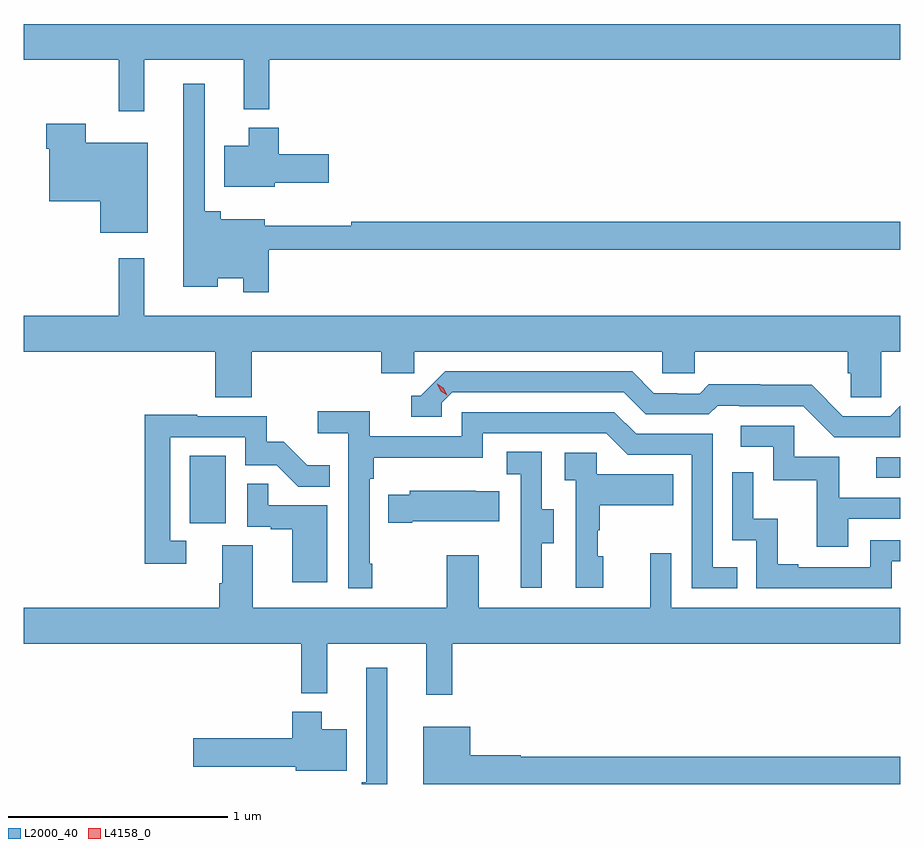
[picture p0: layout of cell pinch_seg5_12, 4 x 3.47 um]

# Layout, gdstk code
import gdstk
lib = gdstk.Library(unit=1e-6, precision=1e-09)
def R(c, l, rs):  # rectangles x0, y0, x1, y1
    for r in rs: c.add(gdstk.rectangle(r[:2], r[2:], *l))
def P(c, l, *ps):  # polygons
    for p in ps: c.add(gdstk.Polygon(p, *l))
L2000_40 = (2000, 40)
L4158_0 = (4158, 0)

pinch_seg5_12 = lib.new_cell('pinch_seg5_12')
R(pinch_seg5_12, L2000_40, [(1116.59,899.934,1116.754,900.241), (1119.723,900.141,1119.832,900.234)])
P(pinch_seg5_12, L2000_40, [(1116.383,902.048),(1116.836,902.048),(1116.836,901.823),(1116.953,901.823),(1116.953,902.048),(1119.832,902.048),(1119.832,902.212),(1115.832,902.212),(1115.832,902.048),(1116.265,902.048),(1116.265,901.815),(1116.383,901.815)],
  [(1116.95,901.182),(1119.832,901.182),(1119.832,901.31),(1117.327,901.31),(1117.327,901.292),(1116.931,901.292),(1116.931,901.321),(1116.731,901.321),(1116.731,901.357),(1116.657,901.357),(1116.657,901.939),(1116.56,901.939),(1116.56,901.013),(1116.718,901.013),(1116.718,901.052),(1116.834,901.052),(1116.834,900.987),(1116.95,900.987)],
  [(1116.397,901.669),(1116.114,901.669),(1116.114,901.756),(1115.936,901.756),(1115.936,901.643),(1115.948,901.643),(1115.948,901.403),(1116.182,901.403),(1116.182,901.259),(1116.397,901.259)],
  [(1116.978,901.487),(1117.225,901.487),(1117.225,901.617),(1116.995,901.617),(1116.995,901.738),(1116.86,901.738),(1116.86,901.657),(1116.746,901.657),(1116.746,901.469),(1116.978,901.469)],
  [(1116.872,900.716),(1117.463,900.716),(1117.463,900.618),(1117.614,900.618),(1117.614,900.716),(1118.745,900.716),(1118.745,900.618),(1118.895,900.618),(1118.895,900.716),(1119.593,900.716),(1119.593,900.618),(1119.607,900.618),(1119.607,900.508),(1119.744,900.508),(1119.744,900.716),(1119.832,900.716),(1119.832,900.88),(1116.382,900.88),(1116.382,901.144),(1116.265,901.144),(1116.265,900.88),(1115.832,900.88),(1115.832,900.716),(1116.707,900.716),(1116.707,900.508),(1116.872,900.508)],
  [(1119.832,900.469),(1119.786,900.423),(1119.57,900.423),(1119.428,900.565),(1119.192,900.565),(1119.192,900.568),(1118.959,900.568),(1118.917,900.525),(1118.814,900.525),(1118.814,900.528),(1118.707,900.528),(1118.608,900.627),(1117.755,900.627),(1117.644,900.516),(1117.601,900.516),(1117.601,900.42),(1117.74,900.42),(1117.74,900.483),(1117.788,900.531),(1118.571,900.531),(1118.67,900.432),(1118.959,900.432),(1118.998,900.471),(1119.097,900.471),(1119.097,900.468),(1119.39,900.468),(1119.531,900.327),(1119.832,900.327)],
  [(1117.423,899.749),(1117.41,899.749),(1117.41,900.137),(1117.43,900.137),(1117.43,900.233),(1117.926,900.233),(1117.926,900.345),(1118.49,900.345),(1118.589,900.246),(1118.88,900.246),(1118.88,899.637),(1119.089,899.637),(1119.089,899.733),(1118.976,899.733),(1118.976,900.342),(1118.626,900.342),(1118.527,900.441),(1117.83,900.441),(1117.83,900.33),(1117.412,900.33),(1117.412,900.446),(1117.173,900.446),(1117.173,900.344),(1117.314,900.344),(1117.314,899.637),(1117.423,899.637)],
  [(1116.574,899.853),(1116.501,899.853),(1116.501,900.327),(1116.843,900.327),(1116.843,900.198),(1116.987,900.198),(1117.085,900.1),(1117.229,900.1),(1117.229,900.199),(1117.125,900.199),(1117.018,900.306),(1116.942,900.306),(1116.942,900.423),(1116.623,900.423),(1116.623,900.428),(1116.385,900.428),(1116.385,899.748),(1116.574,899.748)],
  [(1119.595,899.955),(1119.832,899.955),(1119.832,900.051),(1119.553,900.051),(1119.553,900.237),(1119.348,900.237),(1119.348,900.378),(1119.105,900.378),(1119.105,900.282),(1119.252,900.282),(1119.252,900.129),(1119.451,900.129),(1119.451,899.826),(1119.595,899.826)],
  [(1118.197,899.842),(1118.251,899.842),(1118.251,899.997),(1118.196,899.997),(1118.196,900.26),(1118.037,900.26),(1118.037,900.157),(1118.1,900.157),(1118.1,899.853),(1118.099,899.853),(1118.099,899.64),(1118.197,899.64)],
  [(1118.476,899.784),(1118.451,899.784),(1118.451,899.903),(1118.461,899.903),(1118.461,900.017),(1118.795,900.017),(1118.795,900.157),(1118.448,900.157),(1118.448,900.255),(1118.301,900.255),(1118.301,900.131),(1118.352,900.131),(1118.352,899.64),(1118.476,899.64)],
  [(1119.792,899.76),(1119.832,899.76),(1119.832,899.856),(1119.696,899.856),(1119.696,899.733),(1119.367,899.733),(1119.367,899.746),(1119.272,899.746),(1119.272,899.954),(1119.162,899.954),(1119.162,900.166),(1119.066,900.166),(1119.066,899.856),(1119.174,899.856),(1119.174,899.637),(1119.792,899.637)],
  [(1117.216,900.015),(1116.947,900.015),(1116.947,900.113),(1116.852,900.113),(1116.852,899.919),(1116.959,899.919),(1116.959,899.907),(1117.058,899.907),(1117.058,899.664),(1117.216,899.664)],
  [(1117.606,899.942),(1118.003,899.942),(1118.003,900.079),(1117.895,900.079),(1117.895,900.082),(1117.593,900.082),(1117.593,900.064),(1117.495,900.064),(1117.495,899.935),(1117.606,899.935)],
  [(1117.787,899.384),(1119.832,899.384),(1119.832,899.548),(1118.787,899.548),(1118.787,899.797),(1118.69,899.797),(1118.69,899.548),(1117.909,899.548),(1117.909,899.788),(1117.762,899.788),(1117.762,899.548),(1116.877,899.548),(1116.877,899.834),(1116.737,899.834),(1116.737,899.66),(1116.725,899.66),(1116.725,899.548),(1115.832,899.548),(1115.832,899.384),(1117.099,899.384),(1117.099,899.159),(1117.217,899.159),(1117.217,899.384),(1117.67,899.384),(1117.67,899.151),(1117.787,899.151)],
  [(1117.492,899.275),(1117.395,899.275),(1117.395,898.753),(1117.375,898.753),(1117.375,898.744),(1117.492,898.744)],
  [(1117.306,898.993),(1117.192,898.993),(1117.192,899.074),(1117.058,899.074),(1117.058,898.953),(1116.606,898.953),(1116.606,898.823),(1117.074,898.823),(1117.074,898.805),(1117.306,898.805)],
  [(1119.832,898.868),(1118.1,898.868),(1118.1,898.876),(1117.87,898.876),(1117.87,899.005),(1117.655,899.005),(1117.655,898.744),(1119.832,898.744)])
P(pinch_seg5_12, L4158_0, [(1117.765,900.518),(1117.734,900.537),(1117.718,900.57),(1117.718,900.57),(1117.718,900.57),(1117.749,900.551),(1117.765,900.518),(1117.765,900.518)])

lib.write_gds('pinch_seg5_12.gds')
